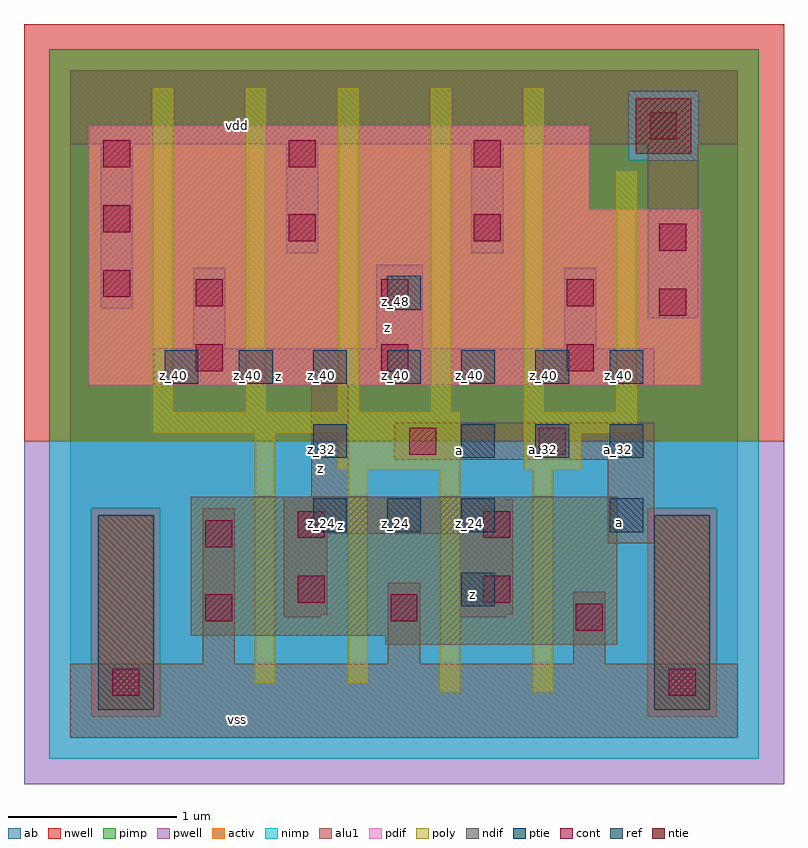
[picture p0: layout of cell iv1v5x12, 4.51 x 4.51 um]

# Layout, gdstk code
import gdstk
lib = gdstk.Library(unit=1e-6, precision=2.5e-09)
def R(c, l, rs):  # rectangles x0, y0, x1, y1
    for r in rs: c.add(gdstk.rectangle(r[:2], r[2:], *l))
def A(c, l, x, y, w, h, nx, ny, dx, dy):  # array of equal rectangles
    R(c, l, [(x+i*dx, y+j*dy, x+i*dx+w, y+j*dy+h) for i in range(nx) for j in range(ny)])
ndif = (3, 0)
pdif = (4, 0)
ntie = (5, 0)
ptie = (6, 0)
ref = (24, 0)
cont = (25, 0)
pwell = (41, 0)
nwell = (42, 0)
activ = (43, 0)
pimp = (44, 0)
nimp = (45, 0)
poly = (46, 0)
alu1 = (49, 0)
ab = (63, 0)

iv1v5x12 = lib.new_cell('iv1v5x12')
R(iv1v5x12, ndif, [(1.87,0.55,3.245,0.605), (0.715,0.605,3.245,1.43)])
R(iv1v5x12, pdif, [(0.11,2.09,3.74,3.135), (0.11,3.135,3.08,3.63)])
R(iv1v5x12, ntie, [(3.355,3.465,3.685,3.795)])
R(iv1v5x12, ptie, [(0.165,0.165,0.495,1.32), (3.465,0.165,3.795,1.32)])
A(iv1v5x12, ref, 1.44, 1.22, 0.2, 0.2, 3, 1, 0.44, 0)
A(iv1v5x12, ref, 2.32, 1.66, 0.2, 0.2, 3, 1, 0.44, 0)
A(iv1v5x12, ref, 0.56, 2.1, 0.2, 0.2, 7, 1, 0.44, 0)
R(iv1v5x12, ref, [(2.32,0.78,2.52,0.98), (3.2,1.22,3.4,1.42), (1.44,1.66,1.64,1.86), (1.88,2.54,2.08,2.74)])
A(iv1v5x12, cont, 0.745, 2.175, 0.16, 0.16, 3, 2, 1.1, 0.385)
A(iv1v5x12, cont, 0.195, 3.385, 0.16, 0.16, 3, 1, 1.1, 0)
R(iv1v5x12, cont, [(0.25,0.25,0.41,0.41), (3.55,0.25,3.71,0.41), (3,0.635,3.16,0.795), (0.8,0.69,0.96,0.85), (1.9,0.69,2.06,0.85), (1.35,0.8,1.51,0.96), (2.45,0.8,2.61,0.96), (0.8,1.13,0.96,1.29), (1.35,1.185,1.51,1.345), (2.45,1.185,2.61,1.345), (2.01,1.68,2.17,1.84), (2.78,1.68,2.94,1.84), (3.495,2.505,3.655,2.665), (0.195,2.615,0.355,2.775), (3.495,2.89,3.655,3.05), (1.295,2.945,1.455,3.105), (2.395,2.945,2.555,3.105), (0.195,3,0.355,3.16), (3.44,3.55,3.6,3.71)])
R(iv1v5x12, pwell, [(-0.275,-0.275,4.235,1.76)])
R(iv1v5x12, nwell, [(-0.275,1.76,4.235,4.235)])
R(iv1v5x12, activ, [(0.165,0.165,0.495,1.32), (3.465,0.165,3.795,1.32), (1.87,0.55,3.245,0.605), (0.715,0.605,3.245,1.43), (0.11,2.09,3.74,3.135), (0.11,3.135,3.08,3.63), (3.355,3.465,3.685,3.795)])
R(iv1v5x12, pimp, [(0.125,0.125,0.535,1.36), (3.425,0.125,3.835,1.36), (-0.125,1.76,4.085,3.425), (-0.125,3.425,3.315,3.835), (3.725,3.425,4.085,3.835), (-0.125,3.835,4.085,4.085)])
R(iv1v5x12, nimp, [(-0.125,-0.125,4.085,0.125), (-0.125,0.125,0.125,1.36), (0.535,0.125,3.425,1.36), (3.835,0.125,4.085,1.36), (-0.125,1.36,4.085,1.76), (3.315,3.425,3.725,3.835)])
A(iv1v5x12, poly, 0.49, 1.93, 0.12, 1.925, 5, 1, 0.55, 0)
R(iv1v5x12, poly, [(2.195,0.27,2.315,1.59), (2.745,0.27,2.865,1.59), (1.095,0.325,1.215,1.81), (1.645,0.325,1.765,1.59), (1.59,1.59,2.315,1.81), (2.69,1.59,3.03,1.81), (0.49,1.81,2.315,1.93), (2.69,1.81,3.36,1.93), (3.24,1.93,3.36,3.36)])
R(iv1v5x12, alu1, [(0,0,3.96,0.44), (0.785,0.44,0.975,1.36), (1.885,0.44,2.075,0.92), (2.985,0.44,3.175,0.865), (1.265,0.715,1.485,0.73), (2.31,0.715,2.585,0.73), (1.265,0.73,1.525,1.21), (2.31,0.73,2.625,1.21), (3.19,1.155,3.465,1.65), (1.265,1.21,2.625,1.415), (1.265,1.415,2.585,1.43), (1.43,1.43,1.65,2.09), (1.925,1.65,3.465,1.87), (0.495,2.09,3.465,2.31), (0.73,2.31,0.92,2.79), (1.815,2.31,2.09,2.805), (2.93,2.31,3.12,2.79), (3.425,2.49,3.725,3.52), (0.18,2.545,0.37,3.52), (1.28,2.875,1.47,3.52), (2.38,2.875,2.57,3.52), (0,3.52,3.96,3.96)])
R(iv1v5x12, ab, [(0,0,3.96,3.96)])
iv1v5x12.add(gdstk.Label('vss', (0.99,0.11), layer=49, texttype=0))
iv1v5x12.add(gdstk.Label('a', (3.2575,1.2775), layer=49, texttype=0))
iv1v5x12.add(gdstk.Label('z', (2.3875,0.85), layer=49, texttype=0))
iv1v5x12.add(gdstk.Label('z', (1.605,1.26), layer=49, texttype=0))
iv1v5x12.add(gdstk.Label('a', (2.31,1.705), layer=49, texttype=0))
iv1v5x12.add(gdstk.Label('z', (1.485,1.595), layer=49, texttype=0))
iv1v5x12.add(gdstk.Label('z', (1.2375,2.145), layer=49, texttype=0))
iv1v5x12.add(gdstk.Label('z', (1.8825,2.4325), layer=49, texttype=0))
iv1v5x12.add(gdstk.Label('vdd', (0.99,3.63), layer=49, texttype=0))
iv1v5x12.add(gdstk.Label('z_40', (0.61,2.15), layer=24, texttype=0))
iv1v5x12.add(gdstk.Label('z_40', (1.05,2.15), layer=24, texttype=0))
iv1v5x12.add(gdstk.Label('z_24', (1.49,1.27), layer=24, texttype=0))
iv1v5x12.add(gdstk.Label('z_32', (1.49,1.71), layer=24, texttype=0))
iv1v5x12.add(gdstk.Label('z_40', (1.49,2.15), layer=24, texttype=0))
iv1v5x12.add(gdstk.Label('z_24', (1.93,1.27), layer=24, texttype=0))
iv1v5x12.add(gdstk.Label('z_40', (1.93,2.15), layer=24, texttype=0))
iv1v5x12.add(gdstk.Label('z_48', (1.93,2.59), layer=24, texttype=0))
iv1v5x12.add(gdstk.Label('z_16', (2.37,0.83), layer=24, texttype=0))
iv1v5x12.add(gdstk.Label('z_24', (2.37,1.27), layer=24, texttype=0))
iv1v5x12.add(gdstk.Label('a_32', (2.37,1.71), layer=24, texttype=0))
iv1v5x12.add(gdstk.Label('z_40', (2.37,2.15), layer=24, texttype=0))
iv1v5x12.add(gdstk.Label('a_32', (2.81,1.71), layer=24, texttype=0))
iv1v5x12.add(gdstk.Label('z_40', (2.81,2.15), layer=24, texttype=0))
iv1v5x12.add(gdstk.Label('a_24', (3.25,1.27), layer=24, texttype=0))
iv1v5x12.add(gdstk.Label('a_32', (3.25,1.71), layer=24, texttype=0))
iv1v5x12.add(gdstk.Label('z_40', (3.25,2.15), layer=24, texttype=0))

lib.write_gds('iv1v5x12.gds')
